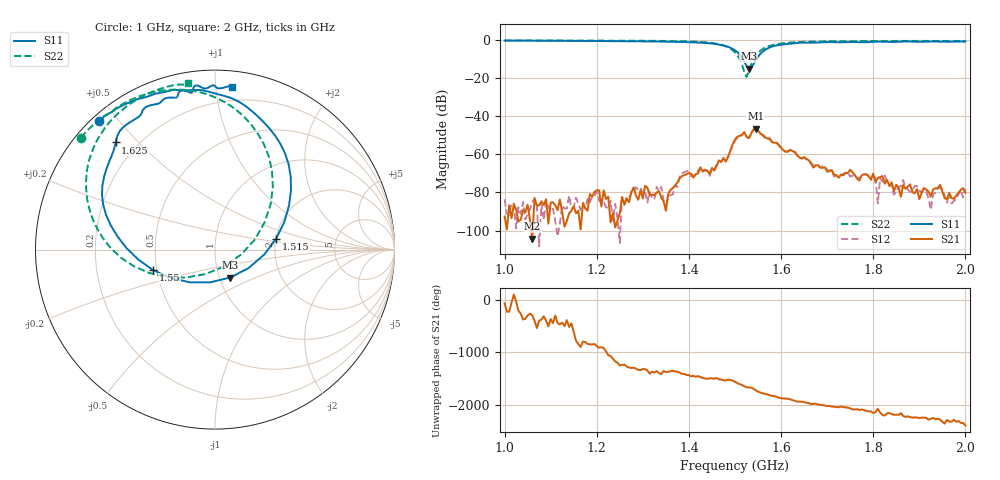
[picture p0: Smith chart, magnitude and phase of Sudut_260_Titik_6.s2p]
# Hz S RI R 50
! CMT, C1220, 16058040, 17.2.0/1
! Date: 14/08/2018 12:24:10
! Data: Format (Calibration Info)
! Freq  S11: Re/Im (F2)  S21: Re/Im (F2)  S12: Re/Im (F2)  S22: Re/Im (F2)
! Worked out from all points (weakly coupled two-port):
!   201 points, 1 GHz to 2 GHz, reference 50 ohm
!   highest |S21| = -46.50 dB at 1.545 GHz (marker M1); lowest = -104.3 dB at 1.06 GHz (marker M2)
!   lowest |S11| = -15.0 dB at 1.53 GHz (marker M3), VSWR 1.43, Z = 56.1 - j18 ohm
!   |S11| at or under -10 dB: 1.517 GHz to 1.547 GHz (29.74 MHz wide, 1.94 % of centre)
!   |S22| runs from -19.4 to -0.2 dB; largest |S21 - S12| = 0.00023
!   S11 on the Smith chart (normalised r, x): 1 GHz: 0.02, +0.44; 1.515 GHz: 2.01, +0.28; 1.55 GHz: 0.48, -0.12; 1.625 GHz: 0.12, +0.43; 2 GHz: 0.10, +1.11
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1e9  -0.6459 0.7155  8.44e-06 -2.16e-05  6.3e-05 1.9e-05  -0.7479 0.6243
1.06e9  -0.5878 0.7594  2.65e-06 5.5e-06  5.51e-05 -2.11e-06  -0.7066 0.6685
1.17e9  -0.4695 0.8234  1.52e-05 -5.11e-05  4.43e-05 -2.25e-05  -0.6112 0.7487
1.335e9  -0.2048 0.889  7.35e-05 7.87e-05  4.96e-05 9.42e-05  -0.3962 0.8625
1.365e9  -0.1153 0.8891  -5.84e-06 0.00013  4.65e-05 7.59e-05  -0.3287 0.8803
1.395e9  -0.0413 0.881  0.000298 6.84e-05  0.000348 9.79e-05  -0.2394 0.891
1.445e9  0.1623 0.8051  0.000193 -0.000227  0.000186 -0.000199  -0.00552 0.8507
1.48e9  0.3647 0.5884  5.51e-06 -0.000646  -5.11e-05 -0.000655  0.2392 0.6447
1.5e9  0.4233 0.3305  -0.00112 -0.00218  -0.00106 -0.00201  0.3223 0.3482
1.515e9  0.3408 0.0606  -0.00319 -0.000334  -0.00312 -0.000352  0.2231 0.0575
1.53e9  0.0841 -0.1557  -0.00193 0.00182  -0.00191 0.00179  -0.0544 -0.1369
1.545e9  -0.248 -0.1578  0.000452 0.00471  0.000353 0.00464  -0.3687 -0.1295
1.55e9  -0.3453 -0.1138  0.00233 0.00356  0.00214 0.00358  -0.4522 -0.0925
1.625e9  -0.5533 0.597  -0.000279 -0.00118  -0.000217 -0.00115  -0.6941 0.5206
1.67e9  -0.4281 0.7376  -0.000446 -5.09e-05  -0.000509 -5.93e-05  -0.6184 0.6709
1.715e9  -0.3476 0.8066  -0.000204 0.00021  -0.000157 0.000206  -0.5439 0.7554
1.8e9  -0.2018 0.8747  0.000299 8.06e-05  0.000249 0.000187  -0.4178 0.8456
1.81e9  -0.1883 0.8864  -1.33e-07 0.00024  3.62e-05 3.69e-05  -0.4041 0.8534
1.815e9  -0.1783 0.8877  0.000235 9.37e-05  0.000199 0.000117  -0.3973 0.8568
1.825e9  -0.1553 0.8822  0.00014 -9.59e-05  0.000274 3.5e-05  -0.384 0.8633
1.835e9  -0.1362 0.8739  0.000148 2.99e-05  0.000108 -9.53e-05  -0.3706 0.8697
2e9  0.097 0.9059  -7.2e-05 6.67e-05  -0.000119 2.77e-05  -0.1486 0.9278
